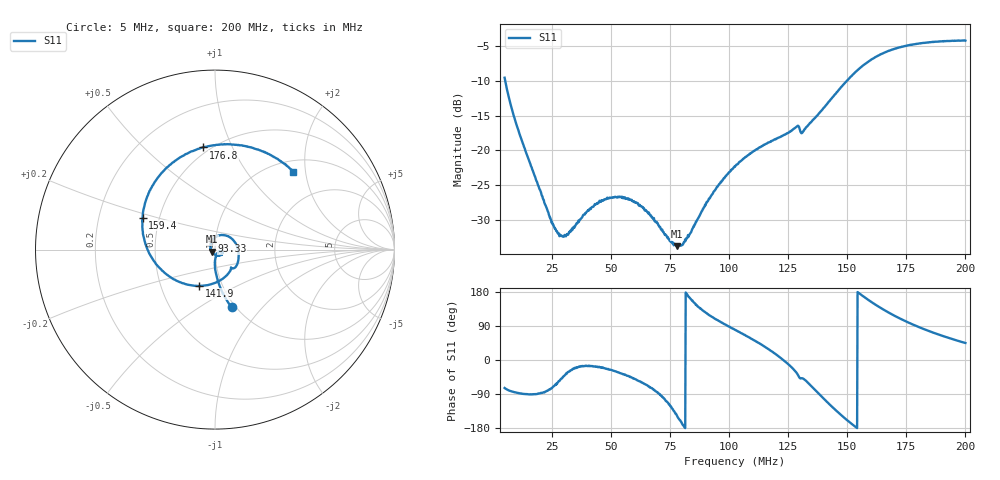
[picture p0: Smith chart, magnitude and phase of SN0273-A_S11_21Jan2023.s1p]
# Hz S DB R 50
! CMT, M5045, 22160017, 22.4.3/2
! Date: 1/21/2023 19:33:21
! Data: Format (Calibration Info)
! Freq	S11:dB/Ang(F1)
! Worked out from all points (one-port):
!   1001 points, 5 MHz to 200 MHz, reference 50 ohm
!   lowest |S11| = -33.7 dB at 77.93 MHz (marker M1), VSWR 1.04, Z = 48.3 - j1.1 ohm
!   |S11| at or under -10 dB: 5.264 MHz to 149.8 MHz (144.5 MHz wide, 186 % of centre)
!   S11 on the Smith chart (normalised r, x): 5 MHz: 0.96, -0.69; 93.33 MHz: 0.96, +0.09; 141.9 MHz: 0.78, -0.33; 159.4 MHz: 0.40, +0.18; 176.8 MHz: 0.46, +0.78; 200 MHz: 1.22, +1.71
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5000000  -9.55 -73.8
8315000  -14.34 -83.5
1.1825e7  -18.12 -88.4
2.3915e7  -29.37 -78.0
2.723e7  -31.65 -62.4
2.9375e7  -32.34 -47.8
4.4195e7  -27.64 -17.5
5.375e7  -26.64 -34.4
6.311e7  -28.07 -59.9
7.793e7  -33.74 -146.3
7.8125e7  -33.67 -148.9
8.3e7  -32.20 166.5
9.3335e7  -25.99 111.6
1.025e8  -22.31 79.7
1.15565e8  -19.06 33.3
1.26875e8  -17.03 -21.8
1.28825e8  -16.51 -36.2
1.3136e8  -17.25 -49.1
1.3604e8  -15.41 -76.5
1.4189e8  -13.14 -113.4
1.4657e8  -11.24 -140.5
1.5125e8  -9.48 -165.5
1.5944e8  -7.10 156.2
1.6802e8  -5.63 123.5
1.75625e8  -4.90 99.7
1.76795e8  -4.84 96.5
1.86545e8  -4.40 71.8
2e8  -4.22 44.9
